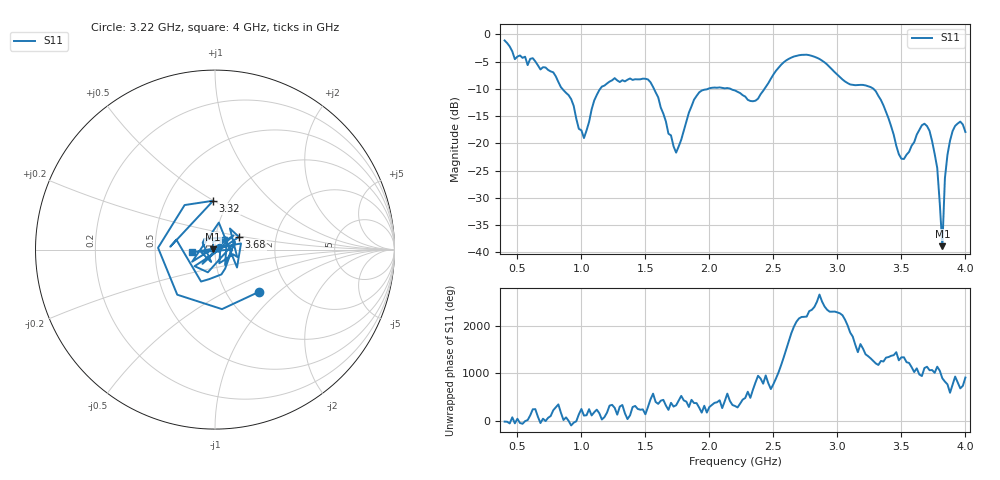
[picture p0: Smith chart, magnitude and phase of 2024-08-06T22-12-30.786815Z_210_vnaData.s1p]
!Created with skrf (http://scikit-rf.org).
# Hz S RI R 50.0
!freq ReS11 ImS11
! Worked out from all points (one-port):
!   181 points, 400 MHz to 4 GHz, reference 50 ohm
!   lowest |S11| = -38.9 dB at 3.82 GHz (marker M1), VSWR 1.02, Z = 48.9 + j0.156 ohm
!   |S11| at or under -10 dB: 850.7 MHz to 1.147 GHz (296.5 MHz wide, 29.7 % of centre); 1.567 GHz to 1.99 GHz (423.6 MHz wide, 23.8 % of centre); 3.281 GHz to end of sweep (the widest 3 of 4)
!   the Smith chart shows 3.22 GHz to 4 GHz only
!   S11 on the Smith chart (normalised r, x): 3.22 GHz: 1.41, -0.75; 3.32 GHz: 0.85, +0.50; 3.68 GHz: 1.29, +0.19; 4 GHz: 0.78, -0.03
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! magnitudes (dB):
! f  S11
! 400 MHz  -1.1
! 480 MHz  -4.6
! 620 MHz  -4.4
! 860 MHz  -10.3
! 1.02 GHz  -19.0
! 1.14 GHz  -10.2
! 1.3 GHz  -8.8
! 1.52 GHz  -8.3
! 1.74 GHz  -21.7
! 1.76 GHz  -20.6
! 1.92 GHz  -10.7
! 2.2 GHz  -10.3
! 2.36 GHz  -12.2
! 2.66 GHz  -4.1
! 2.86 GHz  -4.5
! 3.1 GHz  -9.2
! 3.22 GHz  -9.4
! 3.32 GHz  -11.3
! 3.48 GHz  -22.0
! 3.56 GHz  -21.6
! 3.68 GHz  -16.4
! 3.72 GHz  -17.7
! 3.78 GHz  -24.5
! 3.82 GHz  -38.9
! 3.84 GHz  -26.4
! 3.88 GHz  -19.5
! 3.96 GHz  -16.0
! 4 GHz  -17.9
